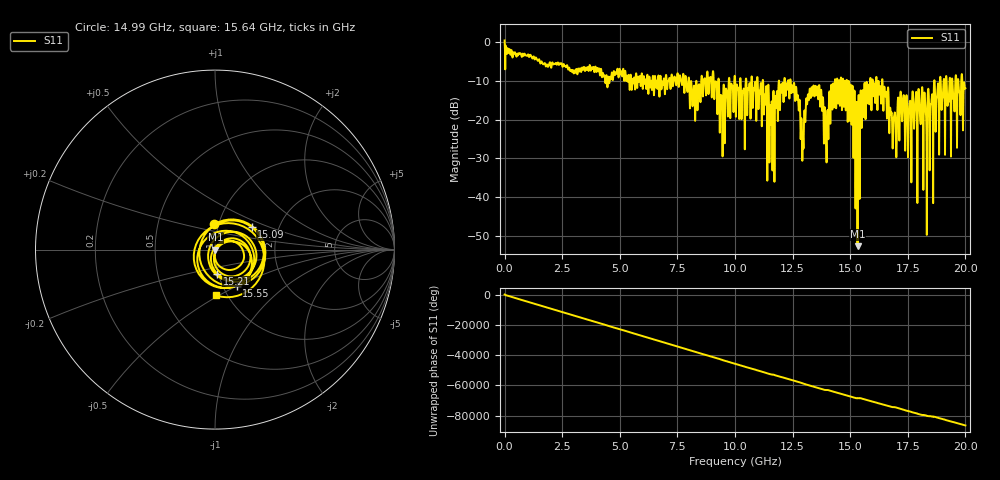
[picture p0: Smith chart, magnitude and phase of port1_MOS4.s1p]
! MS46122B
! 2250307/22442219
! 7/24/2025 12:35:47 PM
! C:\USERS\SPARKY\DOCUMENTS\VNA_DATA\JULY24_2025\295K\PORT1_MOS4.S1P
! CHANNEL.1
! TR.MEASUREMENT
! RAW.DATA
# GHZ S RI R 50.0
! FREQ.GHZ  S11RE  S11IM
!; PortSelection: Port_1
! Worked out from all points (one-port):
!   10001 points, 1 MHz to 20 GHz, reference 50 ohm
!   lowest |S11| = -52.7 dB at 15.32 GHz (marker M1), VSWR 1.00, Z = 50.2 - j0.0173 ohm
!   |S11| at or under -10 dB: 12.41 GHz to 14.34 GHz (1.924 GHz wide, 14.4 % of centre); 14.86 GHz to 15.86 GHz (1.007 GHz wide, 6.56 % of centre); 16.4 GHz to 18.65 GHz (2.245 GHz wide, 12.8 % of centre) (the widest 3 of 72)
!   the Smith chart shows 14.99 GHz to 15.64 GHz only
!   S11 on the Smith chart (normalised r, x): 14.99 GHz: 0.95, +0.28; 15.09 GHz: 1.45, +0.39; 15.21 GHz: 0.99, -0.27; 15.55 GHz: 1.16, -0.49; 15.64 GHz: 0.89, -0.48
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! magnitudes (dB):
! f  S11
! 1 MHz  0.4
! 2.501 GHz  -6.1
! 5.001 GHz  -7.0
! 7.501 GHz  -8.1
! 8.209 GHz  -11.8
! 8.981 GHz  -12.5
! 9.407 GHz  -13.8
! 10 GHz  -9.1
! 11.04 GHz  -13.2
! 11.57 GHz  -19.5
! 12.5 GHz  -11.7
! 12.93 GHz  -27.9
! 13.33 GHz  -11.7
! 13.73 GHz  -12.4
! 13.95 GHz  -25.8
! 14.26 GHz  -10.7
! 14.99 GHz  -17.0
! 15 GHz  -13.0
! 15.09 GHz  -12.4
! 15.21 GHz  -17.4
! 15.32 GHz  -52.7
! 15.55 GHz  -12.6
! 15.64 GHz  -11.9
! 16.47 GHz  -12.6
! 16.93 GHz  -18.4
! 17.25 GHz  -20.5
! 17.5 GHz  -26.4
! 20 GHz  -11.9
